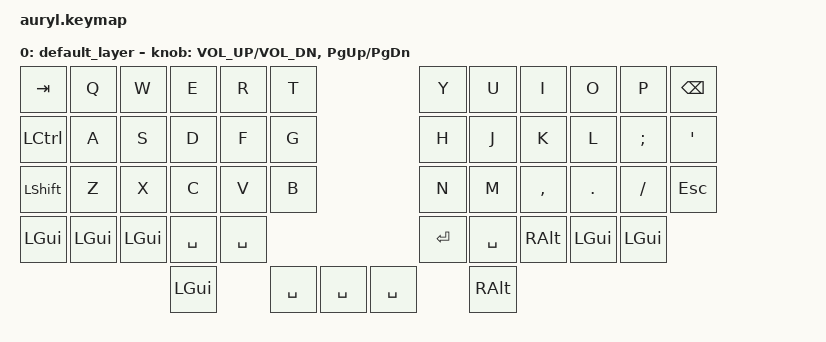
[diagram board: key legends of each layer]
/*
 * Copyright (c) 2020 The ZMK Contributors
 *
 * SPDX-License-Identifier: MIT
 */

#include <behaviors.dtsi>
#include <dt-bindings/zmk/keys.h>
#include <dt-bindings/zmk/bt.h>
// #include <dt-bindings/zmk/trackball_pim447.h>

/* from QMK genkactyl
[_QWERTY] = LAYOUT( \
    KC_TAB,   KC_Q,   KC_W,   KC_E,   KC_R,   KC_T,               KC_Y,   KC_U,   KC_I,   KC_O,   KC_P,    KC_LBRC,   \
    LCTL_ESC, KC_A,   KC_S,   KC_D,   KC_F,   KC_G,               KC_H,   KC_J,   KC_K,   KC_L,   KC_SCLN, KC_QUOT,   \
    KC_LSFT,  KC_Z,   KC_X,   KC_C,   KC_V,   KC_B,               KC_N,   KC_M,   KC_COMM,KC_DOT, KC_SLSH, KC_BSLASH, \
    OSFUNC,  HYPER, KC_LBRC,KC_RBRC,                                              HYPER, KC_EQL, KC_MINS, OSFUNC,   \
                            KC_LGUI, KC_SPC, KC_BSPC,        KC_TAB, KC_ENT, LCTL_ESC,                                 \
                            NUMSYM, LCTL_ESC, KC_LALT,         KC_GRV, KC_RALT, KC_RSFT                                  \
),
*/

/ {
        keymap {
                compatible = "zmk,keymap";

                default_layer {
// -----------------------------------------------------------------------------------------------------
// | OSFN |  Q  |  W  |  E  |  R   |  T   |                |  Y  |  U   |  I  |  O  |  P  |  [  |
// | LESC |  A  |  S  |  D  |  F   |  G   |                |  H  |  J   |  K  |  L  |  ;  |  '  |
// | SHFT |  Z  |  X  |  C  |  V   |  B   |                |  N  |  M   |  ,  |  .  |  /  |  \  |
//              |  [  |  ]  | GUI  | SPC  | BSPC |   | TAB | ENT | LESC |  -  |  =  |
//                          | NSYM | LESC | LALT |         | GRV | SFT  |
                        bindings = <
   &kp TAB   &kp Q &kp W &kp E &kp R &kp T                   &kp Y &kp U  &kp I     &kp O   &kp P    &kp BSPC
   &kp LCTRL &kp A &kp S &kp D &kp F &kp G                   &kp H &kp J  &kp K     &kp L   &kp SEMI &kp SQT
   &kp LSHFT &kp Z &kp X &kp C &kp V &kp B                   &kp N &kp M  &kp COMMA &kp DOT &kp FSLH &kp ESC
        &kp LGUI &kp LGUI &kp LGUI &kp SPACE &kp SPACE   &kp RET &kp SPACE &kp RALT &kp LGUI &kp LGUI
                          &kp LGUI &kp SPACE &kp SPACE   &kp SPACE &kp RALT
                        >;
                        sensor-bindings = <&inc_dec_kp C_VOL_UP C_VOL_DN &inc_dec_kp PG_UP PG_DN>;
                };
        };
};
